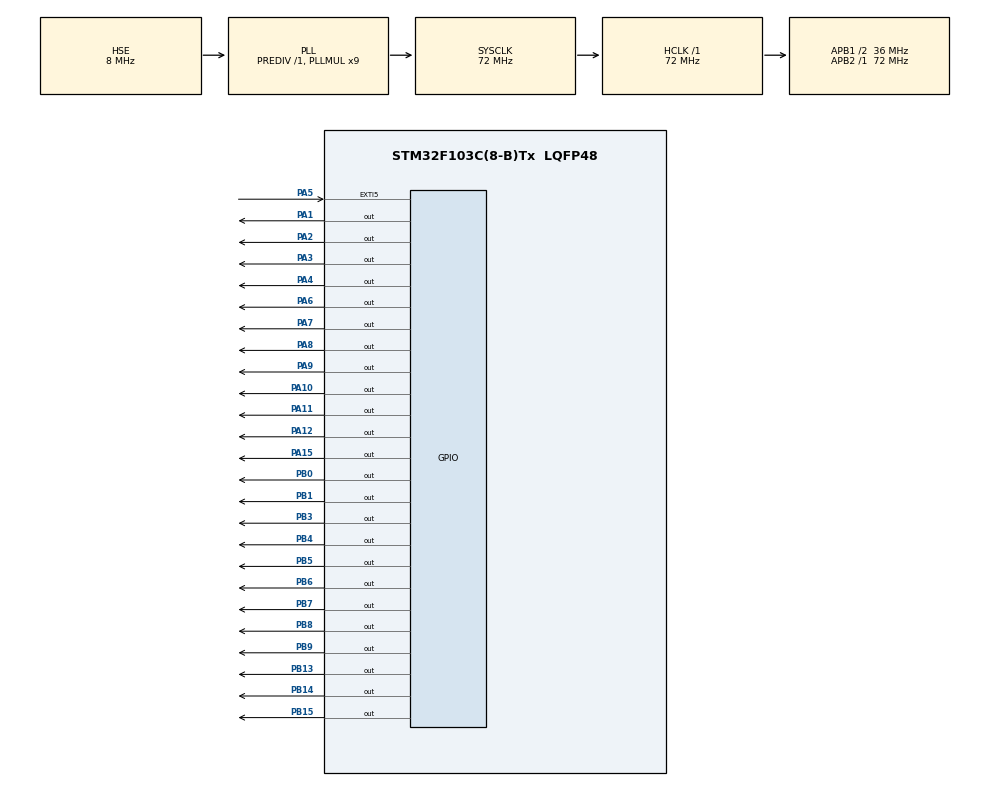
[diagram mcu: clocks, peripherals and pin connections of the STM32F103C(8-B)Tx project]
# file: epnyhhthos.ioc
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Mcu.Family=STM32F1
Mcu.Name=STM32F103C(8-B)Tx
Mcu.Package=LQFP48
NVIC.EXTI9_5_IRQn=true\:0\:0\:false\:false\:true\:true\:true\:true
NVIC.PriorityGroup=NVIC_PRIORITYGROUP_4
NVIC.TIM2_IRQn=true\:0\:0\:false\:false\:true\:true\:true\:true
PA0-WKUP.Signal=S_TIM2_CH1_ETR
PA1.PinState=GPIO_PIN_SET
PA1.Signal=GPIO_Output
PA10.PinState=GPIO_PIN_SET
PA10.Signal=GPIO_Output
PA11.PinState=GPIO_PIN_SET
PA11.Signal=GPIO_Output
PA12.PinState=GPIO_PIN_SET
PA12.Signal=GPIO_Output
PA13.Mode=Serial_Wire
PA13.Signal=SYS_JTMS-SWDIO
PA14.Mode=Serial_Wire
PA14.Signal=SYS_JTCK-SWCLK
PA15.PinState=GPIO_PIN_SET
PA15.Signal=GPIO_Output
PA2.PinState=GPIO_PIN_SET
PA2.Signal=GPIO_Output
PA3.PinState=GPIO_PIN_SET
PA3.Signal=GPIO_Output
PA4.Signal=GPIO_Output
PA5.Signal=GPXTI5
PA6.PinState=GPIO_PIN_SET
PA6.Signal=GPIO_Output
PA7.PinState=GPIO_PIN_SET
PA7.Signal=GPIO_Output
PA8.PinState=GPIO_PIN_SET
PA8.Signal=GPIO_Output
PA9.PinState=GPIO_PIN_SET
PA9.Signal=GPIO_Output
PB0.PinState=GPIO_PIN_SET
PB0.Signal=GPIO_Output
PB1.PinState=GPIO_PIN_SET
PB1.Signal=GPIO_Output
PB13.PinState=GPIO_PIN_SET
PB13.Signal=GPIO_Output
PB14.GPIO_ModeDefaultOutputPP=GPIO_MODE_OUTPUT_PP
PB14.GPIO_PuPd=GPIO_NOPULL
PB14.PinState=GPIO_PIN_SET
PB14.Signal=GPIO_Output
PB15.PinState=GPIO_PIN_SET
PB15.Signal=GPIO_Output
PB3.PinState=GPIO_PIN_SET
PB3.Signal=GPIO_Output
PB4.PinState=GPIO_PIN_SET
PB4.Signal=GPIO_Output
PB5.PinState=GPIO_PIN_SET
PB5.Signal=GPIO_Output
PB6.PinState=GPIO_PIN_SET
PB6.Signal=GPIO_Output
PB7.PinState=GPIO_PIN_SET
PB7.Signal=GPIO_Output
PB8.PinState=GPIO_PIN_SET
PB8.Signal=GPIO_Output
PB9.PinState=GPIO_PIN_SET
PB9.Signal=GPIO_Output
PD0-OSC_IN.Mode=HSE-External-Oscillator
PD0-OSC_IN.Signal=RCC_OSC_IN
PD1-OSC_OUT.Mode=HSE-External-Oscillator
PD1-OSC_OUT.Signal=RCC_OSC_OUT
ProjectManager.HeapSize=0x200
ProjectManager.StackSize=0x400
ProjectManager.TargetToolchain=MDK-ARM V5.32
RCC.AHBFreq_Value=72000000
RCC.APB1CLKDivider=RCC_HCLK_DIV2
RCC.APB1Freq_Value=36000000
RCC.APB1TimFreq_Value=72000000
RCC.APB2Freq_Value=72000000
RCC.APB2TimFreq_Value=72000000
RCC.HCLKFreq_Value=72000000
RCC.PLLMUL=RCC_PLL_MUL9
RCC.PLLSourceVirtual=RCC_PLLSOURCE_HSE
RCC.SYSCLKFreq_VALUE=72000000
RCC.SYSCLKSource=RCC_SYSCLKSOURCE_PLLCLK
RCC.USBFreq_Value=72000000
SH.S_TIM2_CH1_ETR.0=TIM2_CH1
TIM2.AutoReloadPreload=TIM_AUTORELOAD_PRELOAD_ENABLE
TIM2.Period=999
TIM2.Prescaler=71
VP_TIM2_VS_ClockSourceINT.Mode=Internal
board=custom

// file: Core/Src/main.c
/* USER CODE BEGIN Header */
/**
  ******************************************************************************
  * @file           : main.c
  * @brief          : Main program body
  ******************************************************************************
  * @attention
  *
  * Copyright (c) 2026 STMicroelectronics.
  * All rights reserved.
  *
  * This software is licensed under terms that can be found in the LICENSE file
  * in the root directory of this software component.
  * If no LICENSE file comes with this software, it is provided AS-IS.
  *
  ******************************************************************************
  */
/* USER CODE END Header */
#include "main.h"
#include "tim.h"
#include "gpio.h"

/* USER CODE BEGIN Includes */
#include "led.h"
/* USER CODE END Includes */

void SystemClock_Config(void);

/* USER CODE BEGIN 0 */
extern volatile uint8_t mode;  // 模式编号：0=呼吸 1=流水 2=逐个亮→全亮→逐个灭 3=流水+闪烁 4=全亮
/* USER CODE END 0 */

int main(void)
{

  /* MCU Configuration--------------------------------------------------------*/

  /* Reset of all peripherals, Initializes the Flash interface and the Systick. */
  HAL_Init();

  /* Configure the system clock */
  SystemClock_Config();

  /* Initialize all configured peripherals */
  MX_GPIO_Init();
  MX_TIM2_Init();
  /* USER CODE BEGIN 2 */

LED_Init();

    __HAL_GPIO_EXTI_CLEAR_IT(GPIO_PIN_5); // ✅ 清上电误触发

static uint8_t auto_sub_mode = 1;
static uint16_t flow_cnt = 0;  // 流水灯执行计数器
#define FLOW_RUN_TIMES 24
// 新增：每个模式保持时长(ms)，按需修改
#define MODE_HOLD_TIME 800
static uint16_t hold_tick = 0;
  /* USER CODE END 2 */

  /* Infinite loop */
  /* USER CODE BEGIN WHILE */
  while (1)
  {

 if(mode == 0)
    {
        // mode=0：自动循环 1~5 所有模式
        switch(auto_sub_mode)
        {
            case 1:
                LED_Breath();
                // 每个模式跑完切下一个子模式
						 hold_tick++;
            // 延时结束再切换模式
            if(hold_tick >= MODE_HOLD_TIME)
            {
                auto_sub_mode = 2;
                hold_tick = 0;    // 清空计时
                flow_cnt = 0;     // 流水计数清零
            }
            HAL_Delay(1);
                break;
            case 2:
                LED_Flow();
                HAL_Delay(100);
						 flow_cnt++;
             if(flow_cnt >= FLOW_RUN_TIMES)
                {
                    auto_sub_mode = 3;
                    flow_cnt = 0; // 计数清零，留给后续模式使用
                }
                break;
            case 3:
                LED_FlowOn_AllOn_FlowOff();
                auto_sub_mode = 4;
                break;
            case 4:
                LED_FlowAndFlash();
                auto_sub_mode = 5;
                break;
            case 5:
                for(int i = 0; i < LED_NUM; i++)
                    HAL_GPIO_WritePin(leds[i].port, leds[i].pin, LED_ON);
             hold_tick++;
            if(hold_tick >= MODE_HOLD_TIME)
            {
                auto_sub_mode = 1;
                hold_tick = 0;
            }
            HAL_Delay(1);
                break;
        }
    }
    else
    {
    // 主循环只管执行当前模式，中断负责加模式数
    switch(mode)
    {

        case 1: LED_Breath(); break;//呼吸
        case 2: LED_Flow();HAL_Delay(100); break;//流水
        case 3: LED_FlowOn_AllOn_FlowOff(); break;//完全点亮并完全消失
        case 4: LED_FlowAndFlash(); break;//闪烁三次
        case 5:
            for(int i = 0; i < LED_NUM; i++)
                HAL_GPIO_WritePin(leds[i].port, leds[i].pin, LED_ON);//保持全亮
            HAL_Delay(100);
            break;
    }
	}
	/*	switch(current_mode)
    {
        case 0:
            HAL_GPIO_TogglePin(GPIOA, GPIO_PIN_4);
            HAL_Delay(2000);
            break;

        case 1:
            HAL_GPIO_TogglePin(GPIOA, GPIO_PIN_4);
            HAL_Delay(1000);
            break;

        default:
            break;
			}*/
    /* USER CODE END WHILE */

  }
}

void SystemClock_Config(void)
{
  RCC_OscInitTypeDef RCC_OscInitStruct = {0};
  RCC_ClkInitTypeDef RCC_ClkInitStruct = {0};

  /** Initializes the RCC Oscillators according to the specified parameters
  * in the RCC_OscInitTypeDef structure.
  */
  RCC_OscInitStruct.OscillatorType = RCC_OSCILLATORTYPE_HSE;
  RCC_OscInitStruct.HSEState = RCC_HSE_ON;
  RCC_OscInitStruct.HSEPredivValue = RCC_HSE_PREDIV_DIV1;
  RCC_OscInitStruct.HSIState = RCC_HSI_ON;
  RCC_OscInitStruct.PLL.PLLState = RCC_PLL_ON;
  RCC_OscInitStruct.PLL.PLLSource = RCC_PLLSOURCE_HSE;
  RCC_OscInitStruct.PLL.PLLMUL = RCC_PLL_MUL9;
  if (HAL_RCC_OscConfig(&RCC_OscInitStruct) != HAL_OK)
  {
    Error_Handler();
  }

  /** Initializes the CPU, AHB and APB buses clocks
  */
  RCC_ClkInitStruct.ClockType = RCC_CLOCKTYPE_HCLK|RCC_CLOCKTYPE_SYSCLK
                              |RCC_CLOCKTYPE_PCLK1|RCC_CLOCKTYPE_PCLK2;
  RCC_ClkInitStruct.SYSCLKSource = RCC_SYSCLKSOURCE_PLLCLK;
  RCC_ClkInitStruct.AHBCLKDivider = RCC_SYSCLK_DIV1;
  RCC_ClkInitStruct.APB1CLKDivider = RCC_HCLK_DIV2;
  RCC_ClkInitStruct.APB2CLKDivider = RCC_HCLK_DIV1;

  if (HAL_RCC_ClockConfig(&RCC_ClkInitStruct, FLASH_LATENCY_2) != HAL_OK)
  {
    Error_Handler();
  }
}

void Error_Handler(void)
{
  __disable_irq();
  while (1)
  {
  }
}
